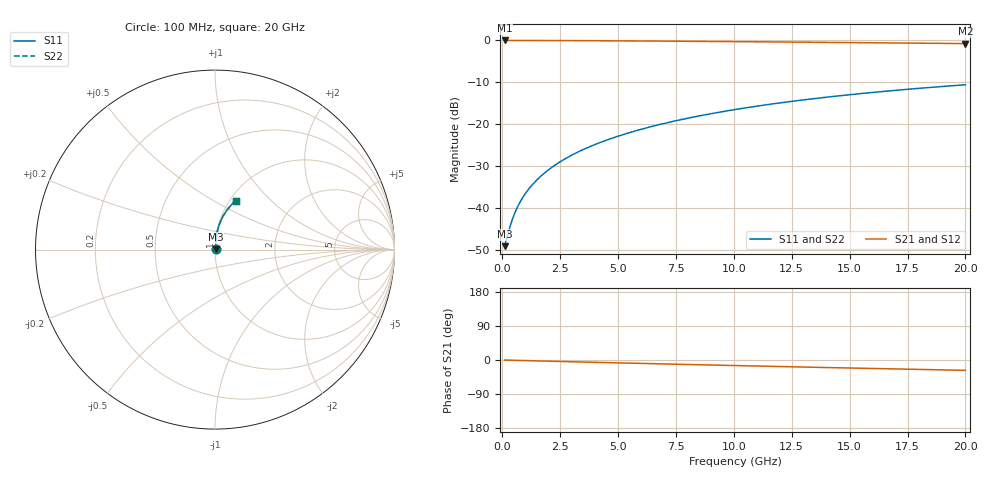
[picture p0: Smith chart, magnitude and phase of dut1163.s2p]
! Touchstone file exported from HFSS 2024.1.0
!  File:  C:/UserFiles/LocalFiles/RDL_TSV_Batchsim/temp_RDL_bottom_1163_1780056587.aedt
!  Generated:  08:12:21 PM May 29, 2026
!  Design:  RDL_bottom
!  Project:  temp_RDL_bottom_1163_1780056587
!  Setup:  Setup1
!  Solution:  Sweep
! Variables:
!  dtsv = 10.80580581um
!  hbump = 3um
!  htsv = 99.02um
!  ldown = 340.98um
!  lrdl = 100um
!  p = 40
!  p1 = 47.64um
!  rhole = 1um
!  t = 450um
!  tdown = 2.19um
!  trdl = 3.915915916um
!  wdown = 19.28um
!  wrdl = 20um
# GHz S MA R 50.000000
! Terminal data exported
! Port[1] = RDL1_T1
! Port[2] = RDL1_T2
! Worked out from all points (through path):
!   200 points, 100 MHz to 20 GHz, reference 50 ohm
!   highest |S21| = -0.03 dB at 100 MHz (marker M1); lowest = -0.8 dB at 20 GHz (marker M2)
!   group delay of S21, straight-line fit = 3.78 ps
!   lowest |S11| = -49.0 dB at 100 MHz (marker M3), VSWR 1.01, Z = 50.3 + j0.154 ohm
!   |S11| at or under -10 dB: start of sweep to end of sweep
!   |S22| runs from -49.0 to -10.6 dB; largest |S21 - S12| = 4.1e-15
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0.1  0.003529 25.6  0.9968 -0.2  0.9968 -0.2  0.003529 25.6
! Gamma 0 0 0 0
! Port Impedance 50 0 50 0
0.3  0.005614 53.9  0.9967 -0.5  0.9967 -0.5  0.005614 53.9
0.4  0.006901 60.5  0.9965 -0.6  0.9965 -0.6  0.006901 60.5
0.5  0.008231 64.9  0.9964 -0.8  0.9964 -0.8  0.008232 64.9
0.6  0.009577 68.0  0.9963 -1.0  0.9963 -1.0  0.009578 68.0
0.7  0.01093 70.3  0.9962 -1.1  0.9962 -1.1  0.01093 70.3
0.9  0.01364 73.6  0.9959 -1.4  0.9959 -1.4  0.01364 73.6
1.2  0.01771 76.8  0.9955 -1.9  0.9955 -1.9  0.01771 76.8
1.4  0.02044 78.2  0.9952 -2.2  0.9952 -2.2  0.02044 78.2
1.7  0.02457 79.8  0.9948 -2.6  0.9948 -2.6  0.02457 79.8
2.2  0.03152 81.6  0.994 -3.4  0.994 -3.4  0.03152 81.6
2.8  0.03999 82.8  0.9927 -4.3  0.9927 -4.3  0.03999 82.8
3.5  0.05004 83.5  0.991 -5.4  0.991 -5.4  0.05004 83.5
4.2  0.06025 83.8  0.9891 -6.4  0.9891 -6.4  0.06025 83.8
5  0.07211 83.8  0.9865 -7.6  0.9865 -7.6  0.0721 83.8
5.9  0.08567 83.4  0.9833 -8.9  0.9833 -8.9  0.08566 83.4
6.8  0.09941 82.9  0.9798 -10.2  0.9798 -10.2  0.09939 82.9
8.4  0.1241 81.5  0.9731 -12.4  0.9731 -12.4  0.1241 81.5
10.1  0.1505 79.7  0.9654 -14.8  0.9654 -14.8  0.1505 79.7
13.4  0.2012 75.6  0.9494 -19.1  0.9494 -19.1  0.2011 75.6
16.7  0.2497 71.4  0.9324 -23.3  0.9324 -23.3  0.2497 71.3
20  0.2955 67.1  0.9146 -27.3  0.9146 -27.3  0.2954 67.1
